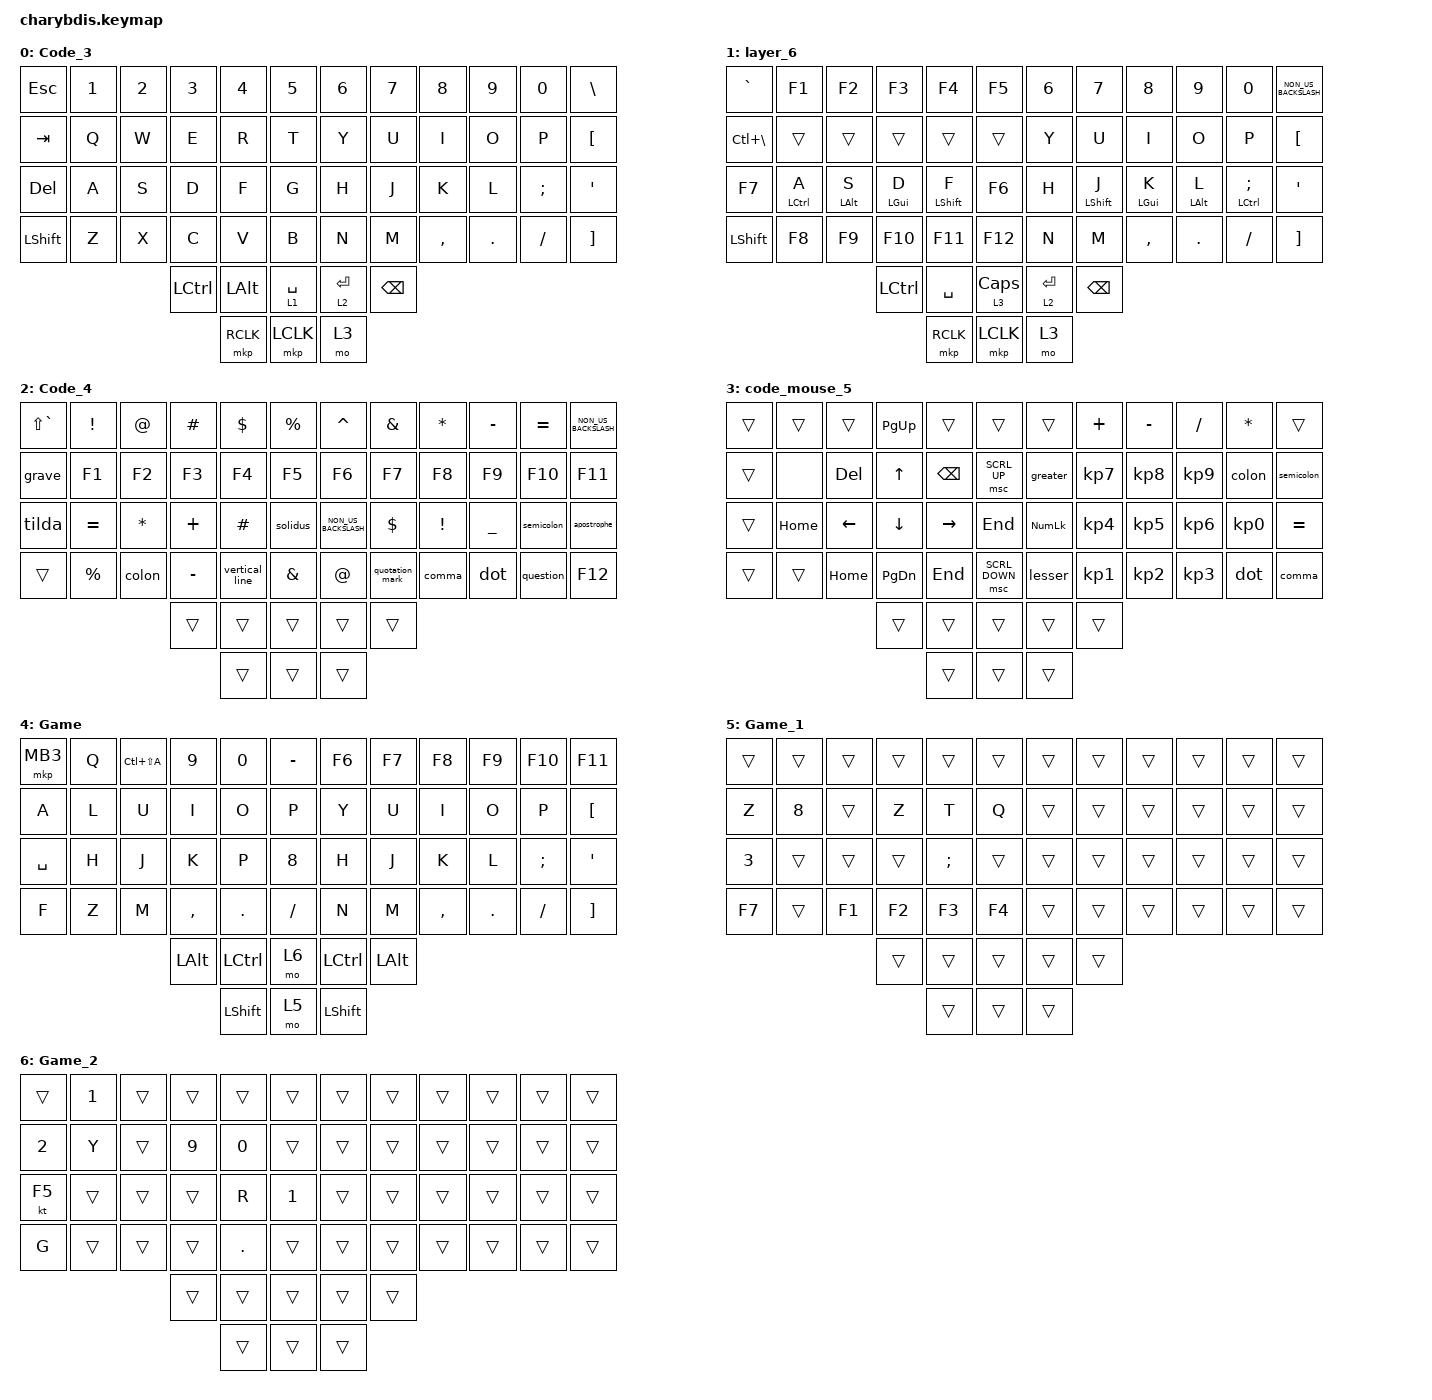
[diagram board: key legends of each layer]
#include <behaviors/unicode.dtsi>
#include <behaviors.dtsi>
#include <dt-bindings/zmk/keys.h>
#include <dt-bindings/zmk/pointing.h>

#define CHARYBDIS_AUTO_SNIPING_ON_LAYER 2
#define UC_UP_ARROWHEAD 0x2303 0  // ⌃
#define UC_QUESTION_MARK 0x3F 0 // ?
#define UC_TILDE 0x7E 0 // ~
#define UC_VERTICAL_LINE 0x7C 0     // |
#define UC_COLON 0x3A 0     // :
#define UC_SEMICOLON 0x3B 0     // ;
#define UC_FULL_STOP             0x2E  0     // .
#define UC_APOSTROPHE            0x27  0     // '
#define UC_QUOTATION_MARK        0x22  0     // "
#define UC_COMMA                 0x2C  0     // ,
#define UC_SOLIDUS               0x2F  0     // /
#define UC_GRAVE_ACCENT          0x60  0     // `

&lt {
    tapping-term-ms = <200>;
    flavor = "balanced";
    quick-tap-ms = <150>;
};

&uc {
    default-mode = <UC_MODE_WIN_COMPOSE>;  // Default to Linux input system
    minimum-length = <0>;            // Set to desired minimum input length
    //  linux-key = <LC(LS(U))>;         // Overwrite Linux compose key

    win-compose-key = <RCTRL>;        // Overwrite WinCompose compose key
};

/ {
    combos {
        compatible = "zmk,combos";

        cb_func_layer {
            timeout-ms = <25>;
            bindings = <&mo 4>;
            key-positions = <48 53>;
        };

        switch_mode {
            timeout-ms = <25>;
            bindings = <&tog 0>;
            key-positions = <55 11>;
        };

        tilda {
            timeout-ms = <25>;
            bindings = <&kp GRAVE>;
            key-positions = <1 14>;
            layers = <0 2>;
        };

        skoba1 {
            timeout-ms = <25>;
            bindings = <&kp LEFT_PARENTHESIS>;
            key-positions = <28 27>;
            layers = <0 2>;
        };

        skoba2 {
            timeout-ms = <25>;
            bindings = <&kp RIGHT_PARENTHESIS>;
            key-positions = <31 32>;
            layers = <0 2>;
        };

        skoba3 {
            timeout-ms = <25>;
            bindings = <&LEFT_CURLY_BRACKET>;
            key-positions = <16 15>;
            layers = <0 2>;
        };

        skoba_4 {
            timeout-ms = <25>;
            bindings = <&RIGHT_CURLY_BRACKET>;
            key-positions = <19 20>;
        };

        skoba_5 {
            timeout-ms = <25>;
            bindings = <&LEFT_SQUARE_BRACKET>;
            key-positions = <3 4>;
            layers = <0 2>;
        };

        skoba_6 {
            timeout-ms = <25>;
            bindings = <&RIGHT_SQUARE_BRACKET>;
            key-positions = <7 8>;
            layers = <0 2>;
        };

        ctrlC {
            timeout-ms = <25>;
            bindings = <&kp LC(C)>;
            key-positions = <37 39>;
        };

        ctrlX {
            timeout-ms = <25>;
            bindings = <&kp LC(X)>;
            key-positions = <37 38>;
        };

        cttrlV {
            timeout-ms = <25>;
            bindings = <&kp LC(V)>;
            key-positions = <37 40>;
        };

        buttom_ {
            timeout-ms = <25>;
            bindings = <&kp UNDERSCORE>;
            key-positions = <13 14>;
        };

        minusa- {
            timeout-ms = <25>;
            bindings = <&kp MINUS>;
            key-positions = <14 15>;
        };

        lesserThan {
            timeout-ms = <25>;
            bindings = <&lesser>;
            key-positions = <39 40>;
        };

        greaterThan {
            timeout-ms = <25>;
            bindings = <&greater>;
            key-positions = <43 44>;
        };

        space {
            timeout-ms = <25>;
            bindings = <&kp SPACE>;
            key-positions = <26 27>;
        };

        space2 {
            timeout-ms = <25>;
            bindings = <&kp SPACE>;
            key-positions = <33 32>;
        };

        del {
            timeout-ms = <25>;
            bindings = <&kp DELETE>;
            key-positions = <38 39>;
        };

        backspace {
            timeout-ms = <25>;
            bindings = <&kp BACKSPACE>;
            key-positions = <44 45>;
        };

        enter {
            timeout-ms = <25>;
            bindings = <&kp ENTER>;
            key-positions = <20 21>;
        };

        f12 {
            timeout-ms = <25>;
            bindings = <&kp F12>;
            key-positions = <10 11>;
        };

        l_ctrl {
            timeout-ms = <25>;
            bindings = <&kp LCTRL>;
            key-positions = <50 25>;
        };

        l_alt {
            timeout-ms = <25>;
            bindings = <&kp LEFT_ALT>;
            key-positions = <50 26>;
        };

        l_gui {
            timeout-ms = <25>;
            bindings = <&kp LEFT_GUI>;
            key-positions = <50 27>;
        };

        l_shift {
            timeout-ms = <25>;
            bindings = <&kp LEFT_SHIFT>;
            key-positions = <28 50>;
        };

        r_ctrl {
            timeout-ms = <25>;
            bindings = <&kp LEFT_CONTROL>;
            key-positions = <50 34>;
        };

        r_alt {
            timeout-ms = <25>;
            bindings = <&kp LEFT_ALT>;
            key-positions = <50 33>;
        };

        r_gui {
            timeout-ms = <25>;
            bindings = <&kp LEFT_GUI>;
            key-positions = <50 32>;
        };

        r_shift {
            timeout-ms = <25>;
            bindings = <&kp LEFT_SHIFT>;
            key-positions = <31 50>;
        };

        capslock {
            timeout-ms = <25>;
            bindings = <&kp CAPSLOCK>;
            key-positions = <36 28 31>;
        };

        alt_right_side {
            timeout-ms = <25>;
            bindings = <&kp LEFT_ALT>;
            key-positions = <33 34>;
        };

        shift_right_side {
            timeout-ms = <25>;
            bindings = <&kp LEFT_SHIFT>;
            key-positions = <21 22>;
        };

        ctrl_right_side {
            timeout-ms = <25>;
            bindings = <&kp LCTRL>;
            key-positions = <45 46>;
        };

        to_layer_3 {
            bindings = <&mo 3>;
            key-positions = <50 54>;
        };

        ToScrollMode {
            bindings = <&mo 3>;
            key-positions = <34 33 32>;
        };

        lkm_right {
            bindings = <&mkp LCLK>;
            key-positions = <31 32 33>;
        };

        rkm_right {
            bindings = <&mkp RCLK>;
            key-positions = <43 44 45>;
        };
    };

    macros {
        copyright_symbol: copyright_symbol {
            compatible = "zmk,behavior-macro";
            wait-ms = <0>;
            tap-ms = <0>;
            #binding-cells = <0>;
            bindings =
                <&macro_press>,
                <&kp LEFT_ALT>,
                <&macro_tap>,
                <&kp KP_N0 &kp KP_N1 &kp KP_N6 &kp KP_N9>,
                <&macro_release>,
                <&kp LEFT_ALT>;

            label = "COPYRIGHT_SYMBOL";
        };

        dollar: dollar {
            compatible = "zmk,behavior-macro";
            wait-ms = <0>;
            tap-ms = <0>;
            #binding-cells = <0>;
            bindings =
                <&macro_press>,
                <&kp LEFT_ALT>,
                <&macro_tap>,
                <&kp KP_NUMBER_3 &kp KP_N6>,
                <&macro_release>,
                <&kp LEFT_ALT>;

            label = "DOLLAR";
        };

        question: question {
            compatible = "zmk,behavior-macro";
            wait-ms = <0>;
            tap-ms = <0>;
            #binding-cells = <0>;
            bindings =
                <&macro_press>,
                <&kp LEFT_ALT>,
                <&macro_tap>,
                <&kp KP_NUMBER_6 &kp KP_NUMBER_3>,
                <&macro_release>,
                <&kp LEFT_ALT>;

            label = "QUESTION";
        };

        tilda: tilda {
            compatible = "zmk,behavior-macro";
            wait-ms = <0>;
            tap-ms = <0>;
            #binding-cells = <0>;
            bindings =
                <&macro_press>,
                <&kp LEFT_ALT>,
                <&macro_tap>,
                <&kp KP_NUMBER_1 &kp KP_NUMBER_2 &kp KP_NUMBER_6>,
                <&macro_release>,
                <&kp LEFT_ALT>;

            label = "TILDA";
        };

        vertical_line: vertical_line {
            compatible = "zmk,behavior-macro";
            wait-ms = <0>;
            tap-ms = <0>;
            #binding-cells = <0>;
            bindings =
                <&macro_press>,
                <&kp LEFT_ALT>,
                <&macro_tap>,
                <&kp KP_NUMBER_1 &kp KP_NUMBER_2 &kp KP_NUMBER_4>,
                <&macro_release>,
                <&kp LEFT_ALT>;

            label = "VERTICAL_LINE";
        };

        colon: colon {
            compatible = "zmk,behavior-macro";
            wait-ms = <0>;
            tap-ms = <0>;
            #binding-cells = <0>;
            bindings =
                <&macro_press>,
                <&kp LEFT_ALT>,
                <&macro_tap>,
                <&kp KP_NUMBER_5 &kp KP_NUMBER_8>,
                <&macro_release>,
                <&kp LEFT_ALT>;

            label = "COLON";
        };

        semicolon: semicolon {
            compatible = "zmk,behavior-macro";
            wait-ms = <0>;
            tap-ms = <0>;
            #binding-cells = <0>;
            bindings =
                <&macro_press>,
                <&kp LEFT_ALT>,
                <&macro_tap>,
                <&kp KP_NUMBER_5 &kp KP_NUMBER_9>,
                <&macro_release>,
                <&kp LEFT_ALT>;

            label = "SEMICOLON";
        };

        dot: dot {
            compatible = "zmk,behavior-macro";
            wait-ms = <0>;
            tap-ms = <0>;
            #binding-cells = <0>;
            bindings =
                <&macro_press>,
                <&kp LEFT_ALT>,
                <&macro_tap>,
                <&kp KP_NUMBER_4 &kp KP_NUMBER_6>,
                <&macro_release>,
                <&kp LEFT_ALT>;

            label = "DOT";
        };

        comma: comma {
            compatible = "zmk,behavior-macro";
            wait-ms = <0>;
            tap-ms = <0>;
            #binding-cells = <0>;
            bindings =
                <&macro_press>,
                <&kp LEFT_ALT>,
                <&macro_tap>,
                <&kp KP_NUMBER_4 &kp KP_NUMBER_4>,
                <&macro_release>,
                <&kp LEFT_ALT>;

            label = "COMMA";
        };

        apostrophe: apostrophe {
            compatible = "zmk,behavior-macro";
            wait-ms = <0>;
            tap-ms = <0>;
            #binding-cells = <0>;
            bindings =
                <&macro_press>,
                <&kp LEFT_ALT>,
                <&macro_tap>,
                <&kp KP_NUMBER_3 &kp KP_NUMBER_9>,
                <&macro_release>,
                <&kp LEFT_ALT>;

            label = "APOSTROPHE";
        };

        quotation_mark: quotation_mark {
            compatible = "zmk,behavior-macro";
            wait-ms = <0>;
            tap-ms = <0>;
            #binding-cells = <0>;
            bindings =
                <&macro_press>,
                <&kp LEFT_ALT>,
                <&macro_tap>,
                <&kp KP_NUMBER_3 &kp KP_NUMBER_4>,
                <&macro_release>,
                <&kp LEFT_ALT>;

            label = "QUOTATION_MARK";
        };

        solidus: solidus {
            compatible = "zmk,behavior-macro";
            wait-ms = <0>;
            tap-ms = <0>;
            #binding-cells = <0>;
            bindings =
                <&macro_press>,
                <&kp LEFT_ALT>,
                <&macro_tap>,
                <&kp KP_NUMBER_4 &kp KP_NUMBER_7>,
                <&macro_release>,
                <&kp LEFT_ALT>;

            label = "SOLIDUS";
        };

        grave: grave {
            compatible = "zmk,behavior-macro";
            wait-ms = <0>;
            tap-ms = <0>;
            #binding-cells = <0>;
            bindings =
                <&macro_press>,
                <&kp LEFT_ALT>,
                <&macro_tap>,
                <&kp KP_NUMBER_9 &kp KP_NUMBER_6>,
                <&macro_release>,
                <&kp LEFT_ALT>;

            label = "GRAVE";
        };

        lesser: lesser {
            compatible = "zmk,behavior-macro";
            wait-ms = <0>;
            tap-ms = <0>;
            #binding-cells = <0>;
            bindings =
                <&macro_press>,
                <&kp LEFT_ALT>,
                <&macro_tap>,
                <&kp KP_NUMBER_6 &kp KP_NUMBER_0>,
                <&macro_release>,
                <&kp LEFT_ALT>;

            label = "LESSER";
        };

        greater: greater {
            compatible = "zmk,behavior-macro";
            wait-ms = <0>;
            tap-ms = <0>;
            #binding-cells = <0>;
            bindings =
                <&macro_press>,
                <&kp LEFT_ALT>,
                <&macro_tap>,
                <&kp KP_NUMBER_6 &kp KP_NUMBER_2>,
                <&macro_release>,
                <&kp LEFT_ALT>;

            label = "GREATER";
        };

        LEFT_SQUARE_BRACKET: LEFT_SQUARE_BRACKET {
            compatible = "zmk,behavior-macro";
            wait-ms = <0>;
            tap-ms = <0>;
            #binding-cells = <0>;
            bindings =
                <&macro_press>,
                <&kp LEFT_ALT>,
                <&macro_tap>,
                <&kp KP_NUMBER_9 &kp KP_NUMBER_1>,
                <&macro_release>,
                <&kp LEFT_ALT>;

            label = "LEFT_SQUARE_BRACKET";
        };

        RIGHT_SQUARE_BRACKET: RIGHT_SQUARE_BRACKET {
            compatible = "zmk,behavior-macro";
            wait-ms = <0>;
            tap-ms = <0>;
            #binding-cells = <0>;
            bindings =
                <&macro_press>,
                <&kp LEFT_ALT>,
                <&macro_tap>,
                <&kp KP_NUMBER_9 &kp KP_NUMBER_3>,
                <&macro_release>,
                <&kp LEFT_ALT>;

            label = "RIGHT_SQUARE_BRACKET";
        };

        LEFT_CURLY_BRACKET: LEFT_CURLY_BRACKET {
            compatible = "zmk,behavior-macro";
            wait-ms = <0>;
            tap-ms = <0>;
            #binding-cells = <0>;
            bindings =
                <&macro_press>,
                <&kp LEFT_ALT>,
                <&macro_tap>,
                <&kp KP_NUMBER_1 &kp KP_NUMBER_2 &kp KP_NUMBER_3>,
                <&macro_release>,
                <&kp LEFT_ALT>;

            label = "LEFT_CURLY_BRACKET";
        };

        RIGHT_CURLY_BRACKET: RIGHT_CURLY_BRACKET {
            compatible = "zmk,behavior-macro";
            wait-ms = <0>;
            tap-ms = <0>;
            #binding-cells = <0>;
            bindings =
                <&macro_press>,
                <&kp LEFT_ALT>,
                <&macro_tap>,
                <&kp KP_NUMBER_1 &kp KP_NUMBER_2 &kp KP_NUMBER_5>,
                <&macro_release>,
                <&kp LEFT_ALT>;

            label = "RIGHT_CURLY_BRACKET";
        };
    };

    behaviors {
        hmr: hmr {
            compatible = "zmk,behavior-hold-tap";
            label = "HMR";
            bindings = <&kp>, <&kp>;

            #binding-cells = <2>;
            tapping-term-ms = <190>;
            quick-tap-ms = <175>;
            flavor = "balanced";
            hold-trigger-key-positions = <0 1 2 3 4 5 12 13 14 15 16 17 24 25 26 27 28 29 36 37 38 39 40 41 48 49 50 53 54 51 52 55>;
            hold-trigger-on-release;
        };

        hmruc: hmruc {
            compatible = "zmk,behavior-hold-tap";
            label = "HMRUC";
            bindings = <&kp>, <&uc>;

            #binding-cells = <2>;
            tapping-term-ms = <190>;
            quick-tap-ms = <175>;
            flavor = "balanced";
            hold-trigger-key-positions = <0 1 2 3 4 5 12 13 14 15 16 17 24 25 26 27 28 29 36 37 38 39 40 41 48 49 50 53 54 51 52 55>;
            hold-trigger-on-release;
        };

        hml: hml {
            compatible = "zmk,behavior-hold-tap";
            label = "HML";
            bindings = <&kp>, <&kp>;

            #binding-cells = <2>;
            tapping-term-ms = <190>;
            quick-tap-ms = <175>;
            flavor = "balanced";
            hold-trigger-key-positions = <48 49 50 53 54 51 52 55 6 7 8 9 10 11 18 19 20 21 22 23 30 31 32 33 34 35 42 43 44 45 46 47 51 52>;
            hold-trigger-on-release;
        };

        hmluc: hmluc {
            compatible = "zmk,behavior-hold-tap";
            label = "HMLUC";
            bindings = <&kp>, <&uc>;

            #binding-cells = <2>;
            tapping-term-ms = <190>;
            quick-tap-ms = <175>;
            flavor = "balanced";
            hold-trigger-key-positions = <48 49 50 53 54 51 52 55 6 7 8 9 10 11 18 19 20 21 22 23 30 31 32 33 34 35 42 43 44 45 46 47 51 52>;
            hold-trigger-on-release;
        };
    };

    keymap {
        compatible = "zmk,keymap";

        Code_3 {
            bindings = <
&kp ESCAPE      &kp NUMBER_1  &kp NUMBER_2  &kp NUMBER_3  &kp NUMBER_4  &kp N5         &kp NUMBER_6  &kp N7         &kp N8     &kp N9   &kp N0         &kp BACKSLASH
&kp TAB         &kp Q         &kp W         &kp E         &kp R         &kp T          &kp Y         &kp U          &kp I      &kp O    &kp P          &kp LEFT_BRACKET
&kp DELETE      &kp A         &kp S         &kp D         &kp F         &kp G          &kp H         &kp J          &kp K      &kp L    &kp SEMICOLON  &kp APOSTROPHE
&kp LEFT_SHIFT  &kp Z         &kp X         &kp C         &kp V         &kp B          &kp N         &kp M          &kp COMMA  &kp DOT  &kp SLASH      &kp RIGHT_BRACKET
                                            &kp LCTRL     &kp LEFT_ALT  &lt 1 SPACE    &lt 2 ENTER   &kp BACKSPACE
                                                          &mkp RCLK     &mkp LCLK      &mo 3
            >;
        };

        layer_6 {
            bindings = <
&kp GRAVE          &kp F1               &kp F2           &kp F3            &kp F4             &kp F5            &kp NUMBER_6  &kp N7             &kp N8           &kp N9           &kp N0                       &kp NON_US_BACKSLASH
&kp LC(BACKSLASH)  &trans               &trans           &trans            &trans             &trans            &kp Y         &kp U              &kp I            &kp O            &kp P                        &kp LEFT_BRACKET
&kp F7             &hml LEFT_CONTROL A  &hml LEFT_ALT S  &hml LEFT_GUI D   &hml LEFT_SHIFT F  &kp F6            &kp H         &hmr LEFT_SHIFT J  &hmr LEFT_GUI K  &hmr LEFT_ALT L  &hmr LEFT_CONTROL SEMICOLON  &kp APOSTROPHE
&kp LEFT_SHIFT     &kp F8               &kp F9           &kp F10           &kp F11            &kp F12           &kp N         &kp M              &kp COMMA        &kp DOT          &kp SLASH                    &kp RIGHT_BRACKET
                                                         &kp LEFT_CONTROL  &kp SPACE          &lt 3 CAPSLOCK    &lt 2 ENTER   &kp BACKSPACE
                                                                           &mkp RCLK          &mkp LCLK         &mo 3
            >;
        };

        Code_4 {
            bindings = <
&kp LS(GRAVE)  &kp EXCLAMATION  &kp AT_SIGN   &kp HASH   &kp DOLLAR      &kp PERCENT      &kp CARET             &kp AMPERSAND    &kp ASTERISK     &kp MINUS       &kp EQUAL   &kp NON_US_BACKSLASH
&grave         &kp F1           &kp F2        &kp F3     &kp F4          &kp F5           &kp F6                &kp F7           &kp F8           &kp F9          &kp F10     &kp F11
&tilda         &kp EQUAL        &kp ASTERISK  &kp PLUS   &kp HASH        &solidus         &kp NON_US_BACKSLASH  &kp DOLLAR       &kp EXCLAMATION  &kp UNDERSCORE  &semicolon  &apostrophe
&trans         &kp PERCENT      &colon        &kp MINUS  &vertical_line  &kp AMPERSAND    &kp AT_SIGN           &quotation_mark  &comma           &dot            &question   &kp F12
                                              &trans     &trans          &trans           &trans                &trans
                                                         &trans          &trans           &trans
            >;
        };

        code_mouse_5 {
            bindings = <
&trans  &trans    &trans      &kp PAGE_UP    &trans         &trans            &trans          &kp PLUS         &kp MINUS        &kp SLASH        &kp ASTERISK     &trans
&trans  &none     &kp DELETE  &kp UP_ARROW   &kp BACKSPACE  &msc SCRL_UP      &greater        &kp KP_NUMBER_7  &kp KP_NUMBER_8  &kp KP_NUMBER_9  &colon           &semicolon
&trans  &kp HOME  &kp LEFT    &kp DOWN       &kp RIGHT      &kp END           &kp KP_NUMLOCK  &kp KP_NUMBER_4  &kp KP_NUMBER_5  &kp KP_NUMBER_6  &kp KP_NUMBER_0  &kp EQUAL
&trans  &trans    &kp HOME    &kp PAGE_DOWN  &kp END        &msc SCRL_DOWN    &lesser         &kp KP_NUMBER_1  &kp KP_NUMBER_2  &kp KP_NUMBER_3  &dot             &comma
                              &trans         &trans         &trans            &trans          &trans
                                             &trans         &trans            &trans
            >;
        };

        Game {
            bindings = <
&mkp MB3   &kp Q  &kp LC(LS(A))  &kp N9        &kp N0            &kp MINUS    &kp F6            &kp F7        &kp F8     &kp F9      &kp F10        &kp F11
&kp A      &kp L  &kp U          &kp I         &kp O             &kp P        &kp Y             &kp U         &kp I      &kp O       &kp P          &kp LEFT_BRACKET
&kp SPACE  &kp H  &kp J          &kp K         &kp P             &kp N8       &kp H             &kp J         &kp K      &kp L       &kp SEMICOLON  &kp SQT
&kp F      &kp Z  &kp M          &kp COMMA     &kp DOT           &kp SLASH    &kp N             &kp M         &kp COMMA  &kp PERIOD  &kp SLASH      &kp RIGHT_BRACKET
                                 &kp LEFT_ALT  &kp LEFT_CONTROL  &mo 6        &kp LEFT_CONTROL  &kp LEFT_ALT
                                               &kp LEFT_SHIFT    &mo 5        &kp LEFT_SHIFT
            >;
        };

        Game_1 {
            bindings = <
&trans        &trans  &trans  &trans  &trans         &trans    &trans  &trans  &trans  &trans  &trans  &trans
&kp Z         &kp N8  &trans  &kp Z   &kp T          &kp Q     &trans  &trans  &trans  &trans  &trans  &trans
&kp NUMBER_3  &trans  &trans  &trans  &kp SEMICOLON  &trans    &trans  &trans  &trans  &trans  &trans  &trans
&kp F7        &trans  &kp F1  &kp F2  &kp F3         &kp F4    &trans  &trans  &trans  &trans  &trans  &trans
                              &trans  &trans         &trans    &trans  &trans
                                      &trans         &trans    &trans
            >;
        };

        Game_2 {
            bindings = <
&trans        &kp NUMBER_1  &trans  &trans  &trans      &trans          &trans  &trans  &trans  &trans  &trans  &trans
&kp NUMBER_2  &kp Y         &trans  &kp N9  &kp N0      &trans          &trans  &trans  &trans  &trans  &trans  &trans
&kt F5        &trans        &trans  &trans  &kp R       &kp NUMBER_1    &trans  &trans  &trans  &trans  &trans  &trans
&kp G         &trans        &trans  &trans  &kp PERIOD  &trans          &trans  &trans  &trans  &trans  &trans  &trans
                                    &trans  &trans      &trans          &trans  &trans
                                            &trans      &trans          &trans
            >;
        };
    };
};
